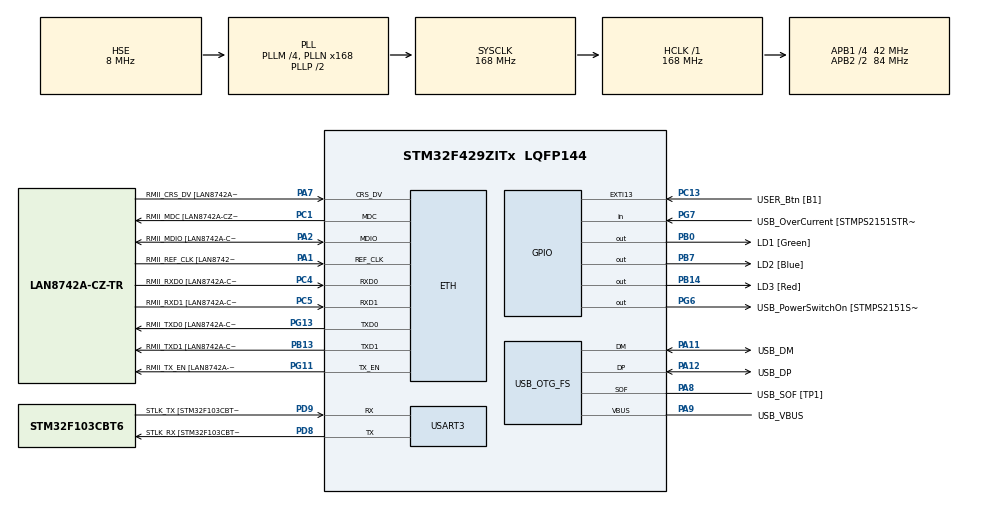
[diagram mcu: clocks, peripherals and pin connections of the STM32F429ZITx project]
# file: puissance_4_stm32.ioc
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Mcu.Family=STM32F4
RCC.CortexFreq_Value=168000000
PG6.Signal=GPIO_Output
PB14.GPIO_Label=LD3 [Red]
PG6.GPIO_Label=USB_PowerSwitchOn [STMPS2151STR_EN]
PA14.GPIO_Label=TCK
RCC.SYSCLKSourceVirtual=RCC_SYSCLKSOURCE_PLLCLK
PA11.Mode=Device_Only
PB0.GPIO_Label=LD1 [Green]
PC14/OSC32_IN.Mode=LSE-External-Oscillator
PC5.Mode=RMII
PC13.GPIO_Label=USER_Btn [B1]
PB13.GPIO_Label=RMII_TXD1 [LAN8742A-CZ-TR_TXD1]
PB13.Signal=ETH_TXD1
PG13.Signal=ETH_TXD0
PD9.Mode=Asynchronous
PG11.Signal=ETH_TX_EN
RCC.SYSCLKSource=RCC_SYSCLKSOURCE_PLLCLK
ProjectManager.StackSize=0x400
PA12.Signal=USB_OTG_FS_DP
ETH.PHY_Value=0
PH0/OSC_IN.Mode=HSE-External-Clock-Source
RCC.HCLKFreq_Value=168000000
RCC.APB2TimFreq_Value=168000000
PH1/OSC_OUT.Signal=RCC_OSC_OUT
PD8.Signal=USART3_TX
RCC.AHBFreq_Value=168000000
RCC.HSE_VALUE=8000000
RCC.PLLMUL=RCC_PLL_MUL9
PC4.GPIO_Label=RMII_RXD0 [LAN8742A-CZ-TR_RXD0]
PA14.Mode=Serial_Wire
PA10.GPIO_Label=USB_ID
PB7.Signal=GPIO_Output
PA8.Signal=USB_OTG_FS_SOF
PG13.Mode=RMII
ETH.PHY_Name=LAN8742A_PHY_ADDRESS
PH1/OSC_OUT.Mode=HSE-External-Clock-Source
PB7.GPIO_Label=LD2 [Blue]
Mcu.Package=LQFP144
PC14/OSC32_IN.Signal=RCC_OSC32_IN
PA2.GPIO_Label=RMII_MDIO [LAN8742A-CZ-TR_MDIO]
PA10.Signal=USB_OTG_FS_ID
USB_OTG_FS.VirtualMode=Device_Only
RCC.APB2CLKDivider=RCC_HCLK_DIV2
RCC.APB1TimFreq_Value=84000000
PG11.GPIO_Label=RMII_TX_EN [LAN8742A-CZ-TR_TXEN]
PC5.Signal=ETH_RXD1
PB13.Mode=RMII
PC4.Mode=RMII
PA7.Mode=RMII
PG7.Signal=GPIO_Input
PD9.GPIO_Label=STLK_TX [STM32F103CBT6_PA2]
PC13.Signal=GPXTI13
PA9.GPIO_Label=USB_VBUS
PC4.Signal=ETH_RXD0
PA11.GPIO_Label=USB_DM
PD9.Signal=USART3_RX
RCC.APB1CLKDivider=RCC_HCLK_DIV4
PG13.GPIO_Label=RMII_TXD0 [LAN8742A-CZ-TR_TXD0]
ETH.PhyAddress=0
PA12.GPIO_Label=USB_DP
PD8.GPIO_Label=STLK_RX [STM32F103CBT6_PA3]
PA13.Signal=SYS_JTMS-SWDIO
PA9.Mode=Activate_VBUS
PA8.GPIO_Label=USB_SOF [TP1]
ProjectManager.TargetToolchain=TrueSTUDIO
PA9.Signal=USB_OTG_FS_VBUS
RCC.USBFreq_Value=48000000
PD8.Mode=Asynchronous
PA1.Signal=ETH_REF_CLK
PB14.Signal=GPIO_Output
board=NUCLEO-F429ZI
RCC.VCOOutputFreq_Value=336000000
PH0/OSC_IN.Signal=RCC_OSC_IN
RCC.APB2Freq_Value=84000000
PA1.Mode=RMII
RCC.PRESCALERUSB=RCC_USBCLKSOURCE_PLL_DIV1_5
PG7.GPIO_Label=USB_OverCurrent [STMPS2151STR_FAULT]
PA1.GPIO_Label=RMII_REF_CLK [LAN8742A-CZ-TR_REFCLK0]
PC1.GPIO_Label=RMII_MDC [LAN8742A-CZ-TR_MDC]
PA13.Mode=Serial_Wire
Mcu.Name=STM32F429ZITx
PA2.Signal=ETH_MDIO
PA13.GPIO_Label=TMS
RCC.APB2TimCLKDivider=2
RCC.48MHZClocksFreq_Value=48000000
RCC.SYSCLKFreq_VALUE=168000000
ETH.MediaInterface=ETH_MEDIA_INTERFACE_RMII
PA7.GPIO_Label=RMII_CRS_DV [LAN8742A-CZ-TR_CRS_DV]
PA12.Mode=Device_Only
PC5.GPIO_Label=RMII_RXD1 [LAN8742A-CZ-TR_RXD1]
USART3.VirtualMode=VM_ASYNC
PC15/OSC32_OUT.Mode=LSE-External-Oscillator
PG11.Mode=RMII
PA11.Signal=USB_OTG_FS_DM
PA14.Signal=SYS_JTCK-SWCLK
ProjectManager.HeapSize=0x200
RCC.HSI_VALUE=16000000
PH0/OSC_IN.GPIO_Label=MCO [STM32F103CBT6_PA8]
RCC.PLLQ=7
NVIC.PriorityGroup=NVIC_PRIORITYGROUP_4
RCC.PLLM=4
RCC.PLLN=168
PA2.Mode=RMII
PC15/OSC32_OUT.Signal=RCC_OSC32_OUT
PA8.Mode=Activate_SOF_FS
RCC.APB1Freq_Value=42000000
PB0.Signal=GPIO_Output
PC1.Signal=ETH_MDC
PC1.Mode=RMII
PA7.Signal=ETH_CRS_DV

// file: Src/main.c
/* USER CODE BEGIN Header */
/**
 ******************************************************************************
 * @file           : main.c
 * @brief          : Main program body
 ******************************************************************************
 * @attention
 *
 * <h2><center>&copy; Copyright (c) 2020 STMicroelectronics.
 * All rights reserved.</center></h2>
 *
 * This software component is licensed by ST under BSD 3-Clause license,
 * the "License"; You may not use this file except in compliance with the
 * License. You may obtain a copy of the License at:
 *                        opensource.org/licenses/BSD-3-Clause
 *
 ******************************************************************************
 */
/* USER CODE END Header */

#include "main.h"

/* USER CODE BEGIN Includes */
#include<stdio.h>
#include"leds_control.h"
/* USER CODE END Includes */

/* USER CODE BEGIN PTD */
typedef struct {
	int RValue;
	int GValue;
	int BValue;
} RGB;

/* USER CODE END PTD */

ETH_HandleTypeDef heth;

UART_HandleTypeDef huart3;

PCD_HandleTypeDef hpcd_USB_OTG_FS;

/* USER CODE BEGIN PV */
const RGB Red = { 255, 0, 0 };
const RGB Green = { 0, 255, 0 };
const RGB Blue = { 0, 0, 255 };
const RGB White = { 255, 255, 255 };
const RGB Purple = { 255, 0, 255 };
const RGB Yellow = { 255, 255, 0 };
const RGB Black = { 0, 0, 0 };
/* USER CODE END PV */

void SystemClock_Config(void);
static void MX_GPIO_Init(void);
static void MX_ETH_Init(void);
static void MX_USART3_UART_Init(void);
static void MX_USB_OTG_FS_PCD_Init(void);

/* USER CODE BEGIN 0 */
void SetLedLine(RGB **TabLine, int TabSize) {
	for (int line = 0; line < TabSize; line++) {
		for (int col = 0; col < TabSize; col++) {
			setLedColor(line +1, col +1, TabLine[line][col].RValue, TabLine[line][col].GValue, TabLine[line][col].BValue);
		}
	}
}

void SetLedOneColor(int Line, RGB Color, int SizeLine) {
	for (int col = 0; col < SizeLine; col++) {
		setLedColor(Line , col +1, Color.RValue, Color.GValue, (Color.BValue));
	}
}

void ResetAllBlack() {
	int Sizeline = 7;
	SetLedOneColor(1, Black, Sizeline);
	SetLedOneColor(2, Black, Sizeline);
	SetLedOneColor(3, Black, Sizeline);
	SetLedOneColor(4, Black, Sizeline);
	SetLedOneColor(5, Black, Sizeline);
	SetLedOneColor(6, Black, Sizeline);
	SetLedOneColor(7, Black, Sizeline);
}

void compteur(int TabSize) {
	for (int compteur = 13; compteur >= 0; compteur--) {
		if (compteur == 13) {
			RGB bckgrd = Black;
			RGB number = Red;
			RGB tabline_1[7] = { bckgrd, bckgrd, number, number, number, bckgrd,bckgrd };
			RGB tabline_2[7] = { bckgrd, number, bckgrd, bckgrd, bckgrd, number,bckgrd };
			RGB tabline_3[7] = { bckgrd, number, bckgrd, bckgrd, bckgrd, number,bckgrd };
			RGB tabline_4[7] = { bckgrd, bckgrd, number, number, number, number,bckgrd };
			RGB tabline_5[7] = { bckgrd, bckgrd, bckgrd, bckgrd, bckgrd, number,bckgrd };
			RGB tabline_6[7] = { bckgrd, bckgrd, bckgrd, bckgrd, bckgrd, number,bckgrd };
			RGB tabline_7[7] = { bckgrd, bckgrd, number, number, number, bckgrd,bckgrd };
			RGB *matrice[7] = { tabline_1, tabline_2, tabline_3, tabline_4,tabline_5, tabline_6, tabline_7 };
			SetLedLine(matrice, TabSize);
		}
		if (compteur == 12) {
			RGB bckgrd = Black;
			RGB number = White;
			RGB tabline_1[7] = { bckgrd, bckgrd, number, number, number, bckgrd,bckgrd };
			RGB tabline_2[7] = { bckgrd, number, bckgrd, bckgrd, bckgrd, number,bckgrd };
			RGB tabline_3[7] = { bckgrd, number, bckgrd, bckgrd, bckgrd, number,bckgrd };
			RGB tabline_4[7] = { bckgrd, bckgrd, number, number, number, bckgrd,bckgrd };
			RGB tabline_5[7] = { bckgrd, number, bckgrd, bckgrd, bckgrd, number,bckgrd };
			RGB tabline_6[7] = { bckgrd, number, bckgrd, bckgrd, bckgrd, number,bckgrd };
			RGB tabline_7[7] = { bckgrd, bckgrd, number, number, number, bckgrd,bckgrd };
			RGB *matrice[7] = { tabline_1, tabline_2, tabline_3, tabline_4,tabline_5, tabline_6, tabline_7 };
			SetLedLine(matrice, TabSize);
		}
		if (compteur == 11) {
			RGB bckgrd = Black;
			RGB number = Green;
			RGB tabline_1[7] = { bckgrd, number, number, number, number, number,bckgrd };
			RGB tabline_2[7] = { bckgrd, bckgrd, bckgrd, bckgrd, bckgrd, number,bckgrd };
			RGB tabline_3[7] = { bckgrd, bckgrd, bckgrd, bckgrd, bckgrd, number,bckgrd };
			RGB tabline_4[7] = { bckgrd, bckgrd, bckgrd, bckgrd, number, bckgrd,bckgrd };
			RGB tabline_5[7] = { bckgrd, bckgrd, bckgrd, number, bckgrd, bckgrd,bckgrd };
			RGB tabline_6[7] = { bckgrd, bckgrd, number, bckgrd, bckgrd, bckgrd,bckgrd };
			RGB tabline_7[7] = { bckgrd, number, bckgrd, bckgrd, bckgrd, bckgrd,bckgrd };
			RGB *matrice[7] = { tabline_1, tabline_2, tabline_3, tabline_4,tabline_5, tabline_6, tabline_7 };
			SetLedLine(matrice, TabSize);
		}
		if (compteur == 10) {
			RGB bckgrd = Black;
			RGB number = Blue;
			RGB tabline_1[7] = { bckgrd, bckgrd, number, number, number, bckgrd,bckgrd };
			RGB tabline_2[7] = { bckgrd, number, bckgrd, bckgrd, bckgrd, number,bckgrd };
			RGB tabline_3[7] = { bckgrd, number, bckgrd, bckgrd, bckgrd, bckgrd,bckgrd };
			RGB tabline_4[7] = { bckgrd, number, number, number, number, bckgrd,bckgrd };
			RGB tabline_5[7] = { bckgrd, number, bckgrd, bckgrd, bckgrd, number,bckgrd };
			RGB tabline_6[7] = { bckgrd, number, bckgrd, bckgrd, bckgrd, number,bckgrd };
			RGB tabline_7[7] = { bckgrd, bckgrd, number, number, number, bckgrd,bckgrd };
			RGB *matrice[7] = { tabline_1, tabline_2, tabline_3, tabline_4,tabline_5, tabline_6, tabline_7 };
			SetLedLine(matrice, TabSize);
		}
		if (compteur == 9) {
			RGB bckgrd = Black;
			RGB number = Yellow;
			RGB tabline_1[7] = { bckgrd, number, number, number, number, number,bckgrd };
			RGB tabline_2[7] = { bckgrd, number, bckgrd, bckgrd, bckgrd, bckgrd,bckgrd };
			RGB tabline_3[7] = { bckgrd, number, bckgrd, bckgrd, bckgrd, bckgrd,bckgrd };
			RGB tabline_4[7] = { bckgrd, number, number, number, number, bckgrd,bckgrd };
			RGB tabline_5[7] = { bckgrd, bckgrd, bckgrd, bckgrd, bckgrd, number,bckgrd };
			RGB tabline_6[7] = { bckgrd, bckgrd, bckgrd, bckgrd, bckgrd, number,bckgrd };
			RGB tabline_7[7] = { bckgrd, number, number, number, number, bckgrd,bckgrd };
			RGB *matrice[7] = { tabline_1, tabline_2, tabline_3, tabline_4,tabline_5, tabline_6, tabline_7 };
			SetLedLine(matrice, TabSize);
		}
		if (compteur == 8) {
			RGB bckgrd = Black;
			RGB number = Purple;
			RGB tabline_1[7] = { bckgrd, bckgrd, bckgrd, bckgrd, number, bckgrd,bckgrd };
			RGB tabline_2[7] = { bckgrd, bckgrd, bckgrd, number, number, bckgrd,bckgrd };
			RGB tabline_3[7] = { bckgrd, bckgrd, number, bckgrd, number, bckgrd,bckgrd };
			RGB tabline_4[7] = { bckgrd, number, number, number, number, bckgrd,bckgrd };
			RGB tabline_5[7] = { bckgrd, bckgrd, bckgrd, bckgrd, number, bckgrd,bckgrd };
			RGB tabline_6[7] = { bckgrd, bckgrd, bckgrd, bckgrd, number, bckgrd,bckgrd };
			RGB tabline_7[7] = { bckgrd, bckgrd, bckgrd, bckgrd, number, bckgrd,bckgrd };
			RGB *matrice[7] = { tabline_1, tabline_2, tabline_3, tabline_4,tabline_5, tabline_6, tabline_7 };
			SetLedLine(matrice, TabSize);
		}
		if (compteur == 7) {
			RGB bckgrd = Black;
			RGB number = White;
			RGB tabline_1[7] = { bckgrd, number, number, number, number, bckgrd,bckgrd };
			RGB tabline_2[7] = { bckgrd, bckgrd, bckgrd, bckgrd, bckgrd, number,bckgrd };
			RGB tabline_3[7] = { bckgrd, bckgrd, bckgrd, bckgrd, bckgrd, number,bckgrd };
			RGB tabline_4[7] = { bckgrd, bckgrd, number, number, number, bckgrd,bckgrd };
			RGB tabline_5[7] = { bckgrd, bckgrd, bckgrd, bckgrd, bckgrd, number,bckgrd };
			RGB tabline_6[7] = { bckgrd, bckgrd, bckgrd, bckgrd, bckgrd, number,bckgrd };
			RGB tabline_7[7] = { bckgrd, number, number, number, number, bckgrd,bckgrd };
			RGB *matrice[7] = { tabline_1, tabline_2, tabline_3, tabline_4,tabline_5, tabline_6, tabline_7 };
			SetLedLine(matrice, TabSize);
		}
		if (compteur == 6) {
			RGB bckgrd = Black;
			RGB number = Green;
			RGB tabline_1[7] = { bckgrd, number, number, number, number, bckgrd,bckgrd };
			RGB tabline_2[7] = { bckgrd, bckgrd, bckgrd, bckgrd, bckgrd, number,bckgrd };
			RGB tabline_3[7] = { bckgrd, bckgrd, bckgrd, bckgrd, bckgrd, number,bckgrd };
			RGB tabline_4[7] = { bckgrd, bckgrd, number, number, number, bckgrd,bckgrd };
			RGB tabline_5[7] = { bckgrd, number, bckgrd, bckgrd, bckgrd, bckgrd,bckgrd };
			RGB tabline_6[7] = { bckgrd, number, bckgrd, bckgrd, bckgrd, bckgrd,bckgrd };
			RGB tabline_7[7] = { bckgrd, number, number, number, number, number,bckgrd };
			RGB *matrice[7] = { tabline_1, tabline_2, tabline_3, tabline_4,tabline_5, tabline_6, tabline_7 };
			SetLedLine(matrice, TabSize);
		}
		if (compteur == 5) {
			RGB bckgrd = Black;
			RGB number = Blue;
			RGB tabline_1[7] = { bckgrd, bckgrd, bckgrd, bckgrd, number, bckgrd,bckgrd };
			RGB tabline_2[7] = { bckgrd, bckgrd, bckgrd, number, number, bckgrd,bckgrd };
			RGB tabline_3[7] = { bckgrd, bckgrd, number, bckgrd, number, bckgrd,bckgrd };
			RGB tabline_4[7] = { bckgrd, number, bckgrd, bckgrd, number, bckgrd,bckgrd };
			RGB tabline_5[7] = { bckgrd, bckgrd, bckgrd, bckgrd, number, bckgrd,bckgrd };
			RGB tabline_6[7] = { bckgrd, bckgrd, bckgrd, bckgrd, number, bckgrd,bckgrd };
			RGB tabline_7[7] = { bckgrd, bckgrd, bckgrd, bckgrd, number, bckgrd,bckgrd };
			RGB *matrice[7] = { tabline_1, tabline_2, tabline_3, tabline_4,tabline_5, tabline_6, tabline_7 };
			SetLedLine(matrice, TabSize);
		}
		if (compteur == 4) {
			RGB bckgrd = Black;
			RGB number = Red;
			RGB tabline_1[7] = { bckgrd, bckgrd, number, number, number, bckgrd,bckgrd };
			RGB tabline_2[7] = { bckgrd, number, bckgrd, bckgrd, bckgrd, number,bckgrd };
			RGB tabline_3[7] = { bckgrd, number, bckgrd, bckgrd, bckgrd, number,bckgrd };
			RGB tabline_4[7] = { bckgrd, number, bckgrd, bckgrd, bckgrd, number,bckgrd };
			RGB tabline_5[7] = { bckgrd, number, bckgrd, bckgrd, bckgrd, number,bckgrd };
			RGB tabline_6[7] = { bckgrd, number, bckgrd, bckgrd, bckgrd, number,bckgrd };
			RGB tabline_7[7] = { bckgrd, bckgrd, number, number, number, bckgrd,bckgrd };
			RGB *matrice[7] = { tabline_1, tabline_2, tabline_3, tabline_4,tabline_5, tabline_6, tabline_7 };
			SetLedLine(matrice, TabSize);
		}
		if (compteur == 3) {
			RGB bckgrd = Black;
			RGB number = White;
			RGB tabline_1[7] = { bckgrd, number, number, number, number, bckgrd,bckgrd };
			RGB tabline_2[7] = { bckgrd, number, bckgrd, bckgrd, bckgrd, number,bckgrd };
			RGB tabline_3[7] = { bckgrd, number, bckgrd, bckgrd, bckgrd, number,bckgrd };
			RGB tabline_4[7] = { bckgrd, number, number, number, number, bckgrd,bckgrd };
			RGB tabline_5[7] = { bckgrd, number, bckgrd, bckgrd, bckgrd, number,bckgrd };
			RGB tabline_6[7] = { bckgrd, number, bckgrd, bckgrd, bckgrd, number,bckgrd };
			RGB tabline_7[7] = { bckgrd, number, number, number, number, bckgrd,bckgrd };
			RGB *matrice[7] = { tabline_1, tabline_2, tabline_3, tabline_4,tabline_5, tabline_6, tabline_7 };
			SetLedLine(matrice, TabSize);
		}
		if (compteur == 2) {
			RGB bckgrd = Black;
			RGB number = White;
			RGB tabline_1[7] = { bckgrd, bckgrd, number, number, number, bckgrd,bckgrd };
			RGB tabline_2[7] = { bckgrd, number, bckgrd, bckgrd, bckgrd, number,bckgrd };
			RGB tabline_3[7] = { bckgrd, number, bckgrd, bckgrd, bckgrd, number,bckgrd };
			RGB tabline_4[7] = { bckgrd, number, bckgrd, bckgrd, bckgrd, number,bckgrd };
			RGB tabline_5[7] = { bckgrd, number, bckgrd, bckgrd, bckgrd, number,bckgrd };
			RGB tabline_6[7] = { bckgrd, number, bckgrd, bckgrd, bckgrd, number,bckgrd };
			RGB tabline_7[7] = { bckgrd, bckgrd, number, number, number, bckgrd,bckgrd };
			RGB *matrice[7] = { tabline_1, tabline_2, tabline_3, tabline_4,tabline_5, tabline_6, tabline_7 };
			SetLedLine(matrice, TabSize);
		}
		if (compteur == 1) {
			RGB bckgrd = Black;
			RGB number = White;
			RGB tabline_1[7] = { bckgrd, bckgrd, number, number, number, bckgrd,bckgrd };
			RGB tabline_2[7] = { bckgrd, number, bckgrd, bckgrd, bckgrd, number,bckgrd };
			RGB tabline_3[7] = { bckgrd, number, bckgrd, bckgrd, bckgrd, number,bckgrd };
			RGB tabline_4[7] = { bckgrd, number, bckgrd, bckgrd, bckgrd, number,bckgrd };
			RGB tabline_5[7] = { bckgrd, number, bckgrd, bckgrd, bckgrd, number,bckgrd };
			RGB tabline_6[7] = { bckgrd, number, bckgrd, bckgrd, bckgrd, number,bckgrd };
			RGB tabline_7[7] = { bckgrd, bckgrd, number, number, number, bckgrd,bckgrd };
			RGB *matrice[7] = { tabline_1, tabline_2, tabline_3, tabline_4,tabline_5, tabline_6, tabline_7 };
			SetLedLine(matrice, TabSize);
		}
		if (compteur == 0) {
			RGB bckgrd = Black;
			RGB number = White;
			RGB tabline_1[7] = { bckgrd, number, bckgrd, bckgrd, bckgrd, number,bckgrd };
			RGB tabline_2[7] = { bckgrd, number, number, bckgrd, number, number,bckgrd };
			RGB tabline_3[7] = { bckgrd, number, bckgrd, number, bckgrd, number,bckgrd };
			RGB tabline_4[7] = { bckgrd, number, bckgrd, bckgrd, bckgrd, number,bckgrd };
			RGB tabline_5[7] = { bckgrd, number, bckgrd, bckgrd, bckgrd, number,bckgrd };
			RGB tabline_6[7] = { bckgrd, number, bckgrd, bckgrd, bckgrd, number,bckgrd };
			RGB tabline_7[7] = { bckgrd, number, bckgrd, bckgrd, bckgrd, number,bckgrd };
			RGB *matrice[7] = { tabline_1, tabline_2, tabline_3, tabline_4,tabline_5, tabline_6, tabline_7 };
			SetLedLine(matrice, TabSize);
		}
		HAL_Delay(1000);
		ResetAllBlack();
		HAL_Delay(500);
	}
}

/* USER CODE END 0 */

int main(void) {

	/* MCU Configuration--------------------------------------------------------*/

	/* Reset of all peripherals, Initializes the Flash interface and the Systick. */
	HAL_Init();

	/* Configure the system clock */
	SystemClock_Config();

	/* Initialize all configured peripherals */
	MX_GPIO_Init();
	MX_ETH_Init();
	MX_USART3_UART_Init();
	MX_USB_OTG_FS_PCD_Init();

	/* Infinite loop */
	while (1) {
		if(HAL_GPIO_ReadPin(USER_Btn_GPIO_Port, USER_Btn_Pin)){
			ResetAllBlack();
			int TabSize;
			TabSize = 7;
			compteur(TabSize);
		}
	}
}

void SystemClock_Config(void) {
	RCC_OscInitTypeDef RCC_OscInitStruct = { 0 };
	RCC_ClkInitTypeDef RCC_ClkInitStruct = { 0 };

	/** Configure the main internal regulator output voltage
	 */
	__HAL_RCC_PWR_CLK_ENABLE()
	;
	__HAL_PWR_VOLTAGESCALING_CONFIG(PWR_REGULATOR_VOLTAGE_SCALE1);
	/** Initializes the CPU, AHB and APB busses clocks
	 */
	RCC_OscInitStruct.OscillatorType = RCC_OSCILLATORTYPE_HSE;
	RCC_OscInitStruct.HSEState = RCC_HSE_BYPASS;
	RCC_OscInitStruct.PLL.PLLState = RCC_PLL_ON;
	RCC_OscInitStruct.PLL.PLLSource = RCC_PLLSOURCE_HSE;
	RCC_OscInitStruct.PLL.PLLM = 4;
	RCC_OscInitStruct.PLL.PLLN = 168;
	RCC_OscInitStruct.PLL.PLLP = RCC_PLLP_DIV2;
	RCC_OscInitStruct.PLL.PLLQ = 7;
	if (HAL_RCC_OscConfig(&RCC_OscInitStruct) != HAL_OK) {
		Error_Handler();
	}
	/** Initializes the CPU, AHB and APB busses clocks
	 */
	RCC_ClkInitStruct.ClockType = RCC_CLOCKTYPE_HCLK | RCC_CLOCKTYPE_SYSCLK
			| RCC_CLOCKTYPE_PCLK1 | RCC_CLOCKTYPE_PCLK2;
	RCC_ClkInitStruct.SYSCLKSource = RCC_SYSCLKSOURCE_PLLCLK;
	RCC_ClkInitStruct.AHBCLKDivider = RCC_SYSCLK_DIV1;
	RCC_ClkInitStruct.APB1CLKDivider = RCC_HCLK_DIV4;
	RCC_ClkInitStruct.APB2CLKDivider = RCC_HCLK_DIV2;

	if (HAL_RCC_ClockConfig(&RCC_ClkInitStruct, FLASH_LATENCY_5) != HAL_OK) {
		Error_Handler();
	}
}

static void MX_ETH_Init(void) {

	heth.Instance = ETH;
	heth.Init.AutoNegotiation = ETH_AUTONEGOTIATION_ENABLE;
	heth.Init.PhyAddress = LAN8742A_PHY_ADDRESS;
	heth.Init.MACAddr[0] = 0x00;
	heth.Init.MACAddr[1] = 0x80;
	heth.Init.MACAddr[2] = 0xE1;
	heth.Init.MACAddr[3] = 0x00;
	heth.Init.MACAddr[4] = 0x00;
	heth.Init.MACAddr[5] = 0x00;
	heth.Init.RxMode = ETH_RXPOLLING_MODE;
	heth.Init.ChecksumMode = ETH_CHECKSUM_BY_HARDWARE;
	heth.Init.MediaInterface = ETH_MEDIA_INTERFACE_RMII;

	if (HAL_ETH_Init(&heth) != HAL_OK) {
		Error_Handler();
	}

}

static void MX_USART3_UART_Init(void) {

	huart3.Instance = USART3;
	huart3.Init.BaudRate = 115200;
	huart3.Init.WordLength = UART_WORDLENGTH_8B;
	huart3.Init.StopBits = UART_STOPBITS_1;
	huart3.Init.Parity = UART_PARITY_NONE;
	huart3.Init.Mode = UART_MODE_TX_RX;
	huart3.Init.HwFlowCtl = UART_HWCONTROL_NONE;
	huart3.Init.OverSampling = UART_OVERSAMPLING_16;
	if (HAL_UART_Init(&huart3) != HAL_OK) {
		Error_Handler();
	}

}

static void MX_USB_OTG_FS_PCD_Init(void) {

	hpcd_USB_OTG_FS.Instance = USB_OTG_FS;
	hpcd_USB_OTG_FS.Init.dev_endpoints = 4;
	hpcd_USB_OTG_FS.Init.speed = PCD_SPEED_FULL;
	hpcd_USB_OTG_FS.Init.dma_enable = DISABLE;
	hpcd_USB_OTG_FS.Init.phy_itface = PCD_PHY_EMBEDDED;
	hpcd_USB_OTG_FS.Init.Sof_enable = ENABLE;
	hpcd_USB_OTG_FS.Init.low_power_enable = DISABLE;
	hpcd_USB_OTG_FS.Init.lpm_enable = DISABLE;
	hpcd_USB_OTG_FS.Init.vbus_sensing_enable = ENABLE;
	hpcd_USB_OTG_FS.Init.use_dedicated_ep1 = DISABLE;
	if (HAL_PCD_Init(&hpcd_USB_OTG_FS) != HAL_OK) {
		Error_Handler();
	}

}

static void MX_GPIO_Init(void) {
	GPIO_InitTypeDef GPIO_InitStruct = { 0 };

	/* GPIO Ports Clock Enable */
	__HAL_RCC_GPIOC_CLK_ENABLE()
	;
	__HAL_RCC_GPIOH_CLK_ENABLE()
	;
	__HAL_RCC_GPIOA_CLK_ENABLE()
	;
	__HAL_RCC_GPIOB_CLK_ENABLE()
	;
	__HAL_RCC_GPIOD_CLK_ENABLE()
	;
	__HAL_RCC_GPIOG_CLK_ENABLE()
	;

	/*Configure GPIO pin Output Level */
	HAL_GPIO_WritePin(GPIOB, LD1_Pin | LD3_Pin | LD2_Pin, GPIO_PIN_RESET);

	/*Configure GPIO pin Output Level */
	HAL_GPIO_WritePin(USB_PowerSwitchOn_GPIO_Port, USB_PowerSwitchOn_Pin,
			GPIO_PIN_RESET);

	/*Configure GPIO pin : USER_Btn_Pin */
	GPIO_InitStruct.Pin = USER_Btn_Pin;
	GPIO_InitStruct.Mode = GPIO_MODE_IT_RISING;
	GPIO_InitStruct.Pull = GPIO_NOPULL;
	HAL_GPIO_Init(USER_Btn_GPIO_Port, &GPIO_InitStruct);

	/*Configure GPIO pins : LD1_Pin LD3_Pin LD2_Pin */
	GPIO_InitStruct.Pin = LD1_Pin | LD3_Pin | LD2_Pin;
	GPIO_InitStruct.Mode = GPIO_MODE_OUTPUT_PP;
	GPIO_InitStruct.Pull = GPIO_NOPULL;
	GPIO_InitStruct.Speed = GPIO_SPEED_FREQ_LOW;
	HAL_GPIO_Init(GPIOB, &GPIO_InitStruct);

	/*Configure GPIO pin : USB_PowerSwitchOn_Pin */
	GPIO_InitStruct.Pin = USB_PowerSwitchOn_Pin;
	GPIO_InitStruct.Mode = GPIO_MODE_OUTPUT_PP;
	GPIO_InitStruct.Pull = GPIO_NOPULL;
	GPIO_InitStruct.Speed = GPIO_SPEED_FREQ_LOW;
	HAL_GPIO_Init(USB_PowerSwitchOn_GPIO_Port, &GPIO_InitStruct);

	/*Configure GPIO pin : USB_OverCurrent_Pin */
	GPIO_InitStruct.Pin = USB_OverCurrent_Pin;
	GPIO_InitStruct.Mode = GPIO_MODE_INPUT;
	GPIO_InitStruct.Pull = GPIO_NOPULL;
	HAL_GPIO_Init(USB_OverCurrent_GPIO_Port, &GPIO_InitStruct);

}

void Error_Handler(void) {
}

/************************ (C) COPYRIGHT STMicroelectronics *****END OF FILE****/
